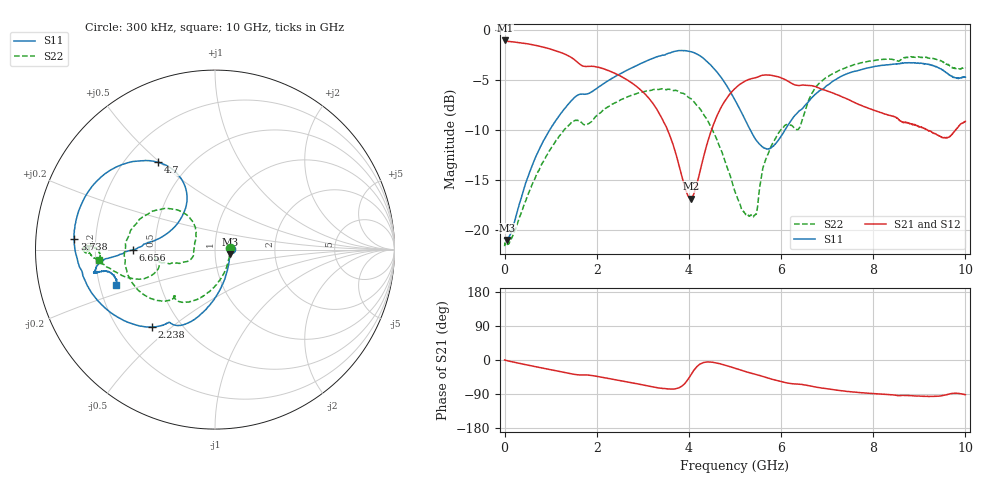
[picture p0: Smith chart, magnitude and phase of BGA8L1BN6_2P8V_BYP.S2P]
!Agilent Technologies,E5071C,MY46316587,B.13.01
!Date: Tue Nov 28 12:32:25 2017
!Data & Calibration Information:
!Freq	S11:SOLT2(ON)	S21:SOLT2(ON)	S12:SOLT2(ON)	S22:SOLT2(ON)
!PortZ  Port1:50+j0  Port2:50+j0
!Above PortZ is port z conversion or system Z0 setting when saving the data.
!When reading, reference impedance value at option line is always used.
# Hz S RI R 50
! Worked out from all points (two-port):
!   1601 points, 300 kHz to 10 GHz, reference 50 ohm
!   highest |S21| = -1.03 dB at 6.55 MHz (marker M1); lowest = -16.9 dB at 4.038 GHz (marker M2)
!   |S21| within 3 dB of the highest: start of sweep to 2.24 GHz
!   lowest |S11| = -21.0 dB at 62.8 MHz (marker M3), VSWR 1.20, Z = 59.2 - j3.2 ohm
!   |S11| at or under -10 dB: start of sweep to 978.3 MHz; 5.333 GHz to 6.084 GHz (751.1 MHz wide, 13.2 % of centre)
!   |S22| runs from -21.6 to -2.6 dB; largest |S21 - S12| = 0.0082
!   S11 on the Smith chart (normalised r, x): 300 kHz: 1.20, +0.01; 2.238 GHz: 0.34, -0.43; 3.738 GHz: 0.12, +0.04; 4.7 GHz: 0.34, +0.49; 6.656 GHz: 0.37, -0.00; 10 GHz: 0.27, -0.16
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300000  0.0907 0.00262  0.885 -0.00139  0.8848 -0.00392  0.0822 0.00991
6549813  0.091 -0.00445  0.8887 -0.00456  0.8843 -0.00297  0.086 -0.00286
6.279812e7  0.085 -0.0268  0.8795 -0.0314  0.8778 -0.0308  0.0818 -0.0211
8.127756e8  -0.000833 -0.2701  0.7706 -0.2976  0.7697 -0.2976  -0.0106 -0.2147
1.669e9  -0.2388 -0.415  0.5151 -0.4231  0.5166 -0.4238  -0.2289 -0.2583
2.237733e9  -0.3519 -0.4316  0.4186 -0.4707  0.4204 -0.4689  -0.2963 -0.287
2.875214e9  -0.5564 -0.3677  0.2377 -0.4622  0.2396 -0.4595  -0.4252 -0.2289
3.3377e9  -0.7134 -0.1952  0.11 -0.3736  0.1102 -0.3714  -0.4924 -0.1129
3.737688e9  -0.7842 0.0612  0.059 -0.2234  0.0598 -0.2236  -0.4963 0.0433
4.037679e9  -0.7233 0.2952  0.1095 -0.0927  0.1109 -0.0935  -0.424 0.1656
4.356419e9  -0.5357 0.4669  0.2497 -0.025  0.251 -0.0246  -0.2884 0.228
4.700159e9  -0.3161 0.4863  0.4045 -0.0767  0.4037 -0.077  -0.1583 0.1941
5.00015e9  -0.1942 0.403  0.4743 -0.1892  0.4748 -0.189  -0.1079 0.1117
5.425137e9  -0.1615 0.2401  0.4577 -0.3511  0.4561 -0.3533  -0.1183 -0.00405
5.712629e9  -0.2069 0.1471  0.4023 -0.4403  0.4006 -0.4422  -0.2271 -0.0743
6.256362e9  -0.361 0.0423  0.2456 -0.4781  0.2448 -0.4786  -0.3265 -0.0429
6.65635e9  -0.4564 -0.00132  0.1891 -0.4927  0.1886 -0.4925  -0.4484 -0.1627
6.66885e9  -0.4593 -0.00212  0.1863 -0.4926  0.1859 -0.4933  -0.4546 -0.1614
7.287581e9  -0.5834 -0.0447  0.0744 -0.4618  0.073 -0.4617  -0.6283 -0.079
8.33755e9  -0.6627 -0.1049  -0.00797 -0.3754  -0.00907 -0.376  -0.7163 0.00747
9.537514e9  -0.6134 -0.1204  -0.0155 -0.2897  -0.0118 -0.2937  -0.6882 0.0217
1e10  -0.5488 -0.1954  -0.00916 -0.3495  -0.00472 -0.3516  -0.6466 -0.0576
